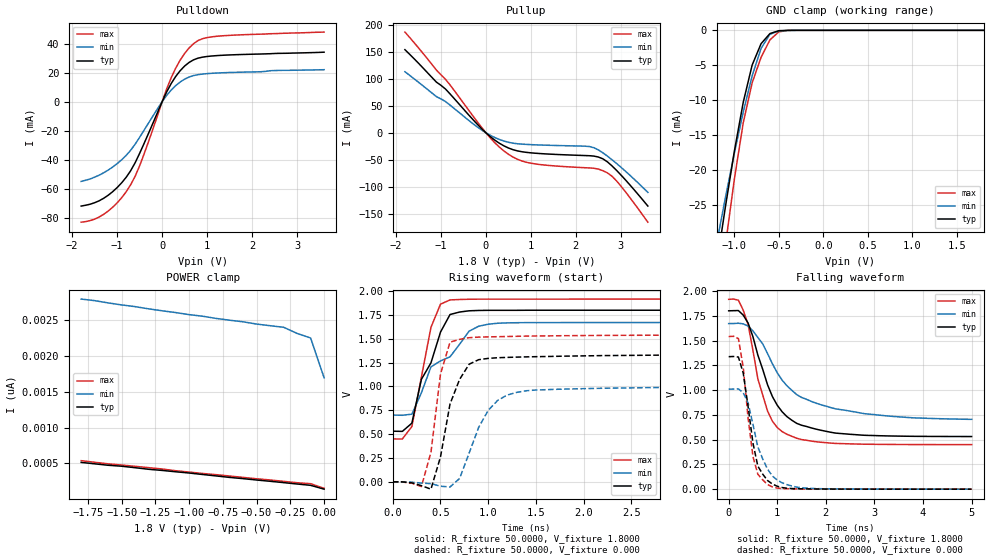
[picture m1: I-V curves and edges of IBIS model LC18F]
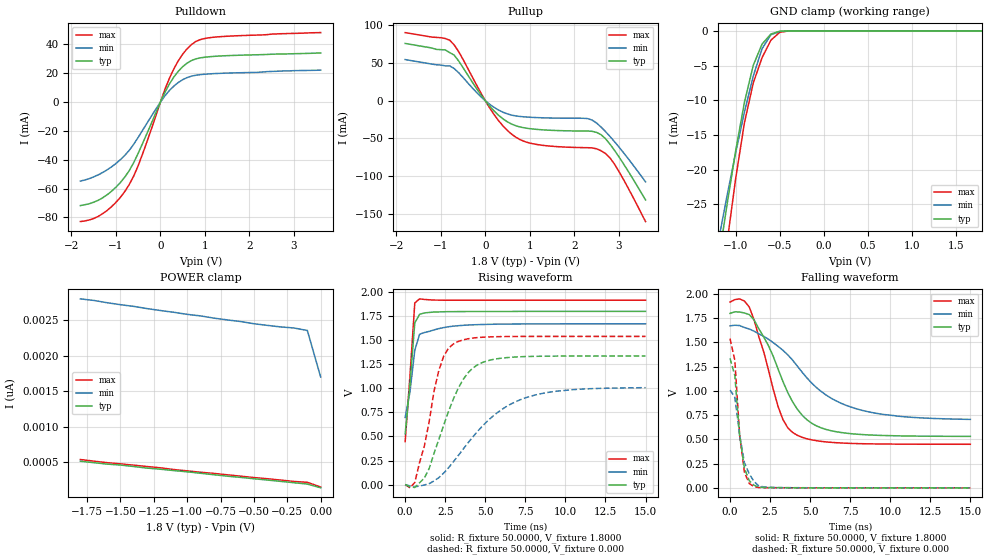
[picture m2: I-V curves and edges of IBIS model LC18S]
| Xilinx CoolRunner-II IBIS models
[IBIS ver]   3.2
[File name]   top.ibs
[File Rev]   0.3
[Date]   Fri Mar 31 17:07:54 2017
[Source]   HSPICE simulations
[Notes]   Xilinx IBIS models for CoolRunner-II
|   The available package models are
|   XC2C32  - CP56, VQ44 and PC44
|   XC2C64  - CP56, VQ44, VQ100 and PC44
|   XC2C128 - FT256, TQ144, CP132 and VQ100
|   XC2C256 - FT256, PQ208, TQ144, CP132, and VQ100
|   XC2C384 - FG324, FT256, PQ208, and TQ144
|   XC2C512 - FG324, FT256, and PQ208
|   with CP56 being selected as a default.
|   Please make your own selection of the packages by
|   commenting out the unused ones.
|   Model names:
|   lc15f - LVCMOS 1.5V & fast slew rate
|   lc15s - LVCMOS 1.5V & slow slew rate
|   lc18f - LVCMOS 1.8V & fast slew rate
|   lc18s - LVCMOS 1.8V & slow slew rate
|   lc25f - LVCMOS 2.5V & fast slew rate
|   lc25s - LVCMOS 2.5V & slow slew rate
|   lc33f - LVCMOS 3.3V & fast slew rate
|   lc33s - LVCMOS 3.3V & slow slew rate
|   hs15f  - HSTL1 1.5V & fast slew rate
|   hs15s  - HSTL1 1.5V & slow slew rate
|   ss25f  - SSTL2-1 2.5V & fast slew rate
|   ss25s  - SSTL2-1 2.5V & slow slew rate
|   ss33f  - SSTL3-1 3.3V & fast slew rate
|   ss33s  - SSTL3-1 3.3V & slow slew rate
|   lt33f  - LVTTL 3.3V & fast slew rate
|   lt33s  - LVTTL 3.3V & slow slew rate
|   COMMENTS: Models include process corners for MIN and MAX
|   NOTE: This file is compliant with IBIS Version 3.2, but it
|   may not implement all approved 3.2 features.
|   NOTE:  Newer versions of the buffer models may be available.
|   Check the web (http://www.xilinx.com/support/sw_ibis.htm) for
|   the latest file revision.  However, please be aware that the
|   web files are not compatible for use with IBISWriter, and
|   must be manually annotated, should their use be preferred.
[Disclaimer]   The data in this model is derived from SPICE simulations
|   using modeling information extracted from the target pro-
|   cess. While a great deal of care has been take to provide
|   information that is accurate, this model is considered
|   preliminary as it has not been verified by actual silicon
|   measurement. Treat the data in this model as preliminary
|   until actual silicon verification is performed.
[Copyright]   Copyright 2003, Xilinx Inc., All rights reserved
|   Component XBR
[Component]   XBR
[Manufacturer]   Xilinx Inc.
[Package]
| For Package Type tq144
| variable   typ   min   max
R_pkg   126.000m   119.000m   133.000m
L_pkg   8.1000nH   7.3000nH   8.9000nH
C_pkg   1.0500pF   0.8000pF   1.3000pF
[Pin]  signal_name   model_name   R_pin   L_pin   C_pin
6   D<0>   LC18S
136   D<1>   LC18S
7   D<2>   LC18S
135   D<3>   LC18S
32   FilterClk   LC18S
134   Load   LC18S
143   Clk   LC18S
9   RESET   LC18S
3   LIGHT<0>   LC18F
5   LIGHT<1>   LC18F
4   LIGHT<2>   LC18F
2   LIGHT<3>   LC18F
30   LIGHT<4>   LC18F
26   LIGHT<5>   LC18F
24   LIGHT<6>   LC18F
22   LIGHT<7>   LC18F
| Models and submodels in the file (2): LC18F (I/O), LC18S (I/O)
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|   Model LC18F
[Model]   LC18F
Model_type   I/O
Polarity   Inverting
Enable   Active-High
Vinl =   0.36000V
Vinh =   1.26000V
Vmeas =   0.9000V
Cref =  35.0000pF
Rref =  56.0000
Vref =  0.9000V
C_comp   1.4810pF   0.9482pF   2.0140pF
[Temperature Range]   25.0000   100.0000   0.000
[Voltage Range]   1.8000V   1.7000V   1.9000V
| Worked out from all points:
|   slope of the pulldown table from 0 to 0.27 V, typ, clamps not added: 17 ohm
|   slope of the pullup table from 0 to 0.27 V, typ, clamps not added: 15.3 ohm
|   GND clamp passes 1 mA (typ) near -0.64 V on its own axis
|   rising waveform, R_fixture 50.0000, V_fixture 1.8000: 20-80 % time 256ps typ, 443ps min, 170ps max; typ from 0.531 V to 1.8 V
|   rising waveform, R_fixture 50.0000, V_fixture 0.000: 20-80 % time 197ps typ, 288ps min, 131ps max; typ from 0 V to 1.33 V
|   falling waveform, R_fixture 50.0000, V_fixture 1.8000: 20-80 % time 600ps typ, 960ps min, 430ps max; typ from 1.8 V to 0.531 V
|   falling waveform, R_fixture 50.0000, V_fixture 0.000: 20-80 % time 255ps typ, 371ps min, 213ps max; typ from 1.34 V to 0 V
[Pulldown]
| voltage   I(typ)   I(min)   I(max)
-1.8V     -71.81mA   -54.84mA   -82.9mA
-1.5V     -69.49mA   -51.9mA    -80.79mA
-1.2V     -64.37mA   -47.05mA   -75.24mA
-900mV    -55.8mA    -39.97mA   -66.09mA
-700mV    -47.49mA   -33.42mA   -57.13mA
-500mV    -35.5mA    -24.46mA   -44.05mA
200mV     12.46mA    7.971mA    16.42mA
400mV     21.32mA    13.55mA    28.59mA
700mV     28.84mA    18.01mA    39.96mA
900mV     30.67mA    19.03mA    43.37mA
1.3V      31.88mA    19.86mA    45.25mA
3.6V      34.07mA    22.02mA    47.9mA
[Pullup]
| voltage   I(typ)   I(min)   I(max)
-1.8V     153.5mA    112.8mA    186mA
-1.1V     93.58mA    66.76mA    115.8mA
-800mV    72.05mA    51.3mA     88.72mA
-100mV    8.008mA    5.369mA    10.44mA
400mV     -24.16mA   -15.28mA   -33.55mA
700mV     -33.47mA   -20.28mA   -48.91mA
1V        -37.08mA   -21.92mA   -56.25mA
2.3V      -42.4mA    -25.41mA   -64.98mA
2.5V      -44.8mA    -31.66mA   -67.1mA
2.7V      -53.68mA   -43.08mA   -74.03mA
3V        -77.83mA   -63.53mA   -98.34mA
3.6V      -135.4mA   -110.1mA   -165.2mA
[GND_clamp]
| voltage   I(typ)   I(min)   I(max)
-1.8V     -89.59mA   -75.16mA   -106.6mA
-1.2V     -33.66mA   -30.6mA    -40.86mA
-1.1V     -25.24mA   -23.93mA   -30.77mA
-1V       -17.32mA   -17.6mA    -21.32mA
-900mV    -10.29mA   -11.7mA    -13.23mA
-800mV    -4.969mA   -6.512mA   -7.511mA
-700mV    -1.912mA   -2.585mA   -3.865mA
-600mV    -461.7uA   -562.3uA   -1.358mA
-500mV    -51.62uA   -96uA      -215.1uA
-400mV    -3.51uA    -19.18uA   -14.57uA
1.8V      138.1pA    2.651nA    129.3pA
[POWER_clamp]
| voltage   I(typ)   I(min)   I(max)
-1.8V     512.6pA    2.798nA    536.7pA
-1.7V     492.5pA    2.776nA    514.3pA
-1.6V     472.5pA    2.744nA    492.6pA
-1.5V     459.1pA    2.716nA    475.7pA
-1.3V     416.2pA    2.661nA    438.8pA
-800mV    323.3pA    2.527nA    341.2pA
-600mV    285.2pA    2.48nA     302.6pA
-500mV    266pA      2.448nA    283.2pA
-300mV    229.6pA    2.403nA    247.3pA
-200mV    210.2pA    2.317nA    228.1pA
-100mV    191.8pA    2.253nA    214.5pA
0V        138pA      1.697nA    149.9pA
[Ramp]
dV/dt_r   0.8010/0.1675n   0.6018/0.2742n   0.9240/0.1081n
dV/dt_f   0.7613/0.5688n   0.5514/1.0399n   0.8879/0.3752n
R_load = 50.0000
[Rising Waveform]
R_fixture = 50.0000
V_fixture = 1.8000
V_fixture_min = 1.6000
V_fixture_max = 2.0000
L_fixture = 0.000H
C_fixture = 0.000F
| time   V(typ)   V(min)   V(max)
0s        530.7mV    699.7mV    449.6mV
100ps     528.8mV    697.7mV    448.9mV
200ps     614.7mV    709.3mV    579.5mV
300ps     1.075V     934.1mV    1.098V
400ps     1.247V     1.205V     1.619V
500ps     1.57V      1.268V     1.863V
600ps     1.754V     1.311V     1.907V
800ps     1.793V     1.58V      1.914V
1.1ns     1.798V     1.663V     1.915V
5ns       1.799V     1.671V     1.916V
[Rising Waveform]
R_fixture = 50.0000
V_fixture = 0.000
V_fixture_min = 0.000
V_fixture_max = 0.000
L_fixture = 0.000H
C_fixture = 0.000F
| time   V(typ)   V(min)   V(max)
0s        0V         0V         0V
300ps     -40.19mV   -13.02mV   -49.58mV
400ps     -76.96mV   -19mV      309.5mV
500ps     261.5mV    -45.98mV   1.131V
600ps     816.3mV    -53.85mV   1.464V
700ps     1.073V     34.95mV    1.494V
800ps     1.233V     301.3mV    1.511V
1ns       1.294V     749.4mV    1.52V
1.3ns     1.308V     938.1mV    1.526V
5ns       1.335V     1.003V     1.54V
[Falling Waveform]
R_fixture = 50.0000
V_fixture = 1.8000
V_fixture_min = 1.6000
V_fixture_max = 2.0000
L_fixture = 0.000H
C_fixture = 0.000F
| time   V(typ)   V(min)   V(max)
0s        1.8V       1.671V     1.916V
200ps     1.802V     1.675V     1.907V
300ps     1.756V     1.668V     1.806V
400ps     1.676V     1.646V     1.661V
600ps     1.354V     1.531V     1.114V
800ps     1.054V     1.369V     788.7mV
1.1ns     781mV      1.101V     580.8mV
1.5ns     645.1mV    925.7mV    500.8mV
2.2ns     565.9mV    810.4mV    461.6mV
5ns       531.1mV    704.8mV    449.7mV
[Falling Waveform]
R_fixture = 50.0000
V_fixture = 0.000
V_fixture_min = 0.000
V_fixture_max = 0.000
L_fixture = 0.000H
C_fixture = 0.000F
| time   V(typ)   V(min)   V(max)
0s        1.337V     1.009V     1.54V
200ps     1.333V     1.012V     1.52V
300ps     1.171V     973.1mV    1.228V
400ps     833mV      868.4mV    715.7mV
500ps     464.4mV    654.5mV    328.7mV
600ps     233mV      426mV      151.2mV
800ps     87.63mV    201.3mV    46.92mV
1.1ns     16.41mV    64.36mV    6.302mV
1.5ns     3.473mV    14.19mV    1.671mV
5ns       15.63uV    57.06uV    2.664uV
|   Model LC18S
[Model]   LC18S
Model_type   I/O
Polarity   Inverting
Enable   Active-High
Vinl =   0.36000V
Vinh =   1.26000V
Vmeas =   0.9000V
Cref =  35.0000pF
Rref =  56.0000
Vref =  0.9000V
C_comp   1.4810pF   0.9482pF   2.0140pF
[Temperature Range]   25.0000   100.0000   0.000
[Voltage Range]   1.8000V   1.7000V   1.9000V
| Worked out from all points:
|   slope of the pulldown table from 0 to 0.27 V, typ, clamps not added: 17 ohm
|   slope of the pullup table from 0 to 0.27 V, typ, clamps not added: 15.3 ohm
|   GND clamp passes 1 mA (typ) near -0.64 V on its own axis
|   rising waveform, R_fixture 50.0000, V_fixture 1.8000: 20-80 % time 389ps typ, 526ps min, 366ps max; typ from 0.528 V to 1.8 V
|   rising waveform, R_fixture 50.0000, V_fixture 0.000: 20-80 % time 1.85ns typ, 3.43ns min, 1.16ns max; typ from 0 V to 1.34 V
|   falling waveform, R_fixture 50.0000, V_fixture 1.8000: 20-80 % time 2.19ns typ, 3.74ns min, 1.53ns max; typ from 1.8 V to 0.531 V
|   falling waveform, R_fixture 50.0000, V_fixture 0.000: 20-80 % time 499ps typ, 651ps min, 453ps max; typ from 1.34 V to 0 V
[Pulldown]
| voltage   I(typ)   I(min)   I(max)
-1.8V     -71.81mA   -54.84mA   -82.9mA
-1.5V     -69.49mA   -51.9mA    -80.79mA
-1.2V     -64.37mA   -47.05mA   -75.24mA
-900mV    -55.8mA    -39.97mA   -66.09mA
-700mV    -47.49mA   -33.42mA   -57.13mA
-500mV    -35.5mA    -24.46mA   -44.05mA
200mV     12.46mA    7.971mA    16.42mA
400mV     21.32mA    13.55mA    28.59mA
700mV     28.84mA    18.01mA    39.96mA
900mV     30.67mA    19.03mA    43.37mA
1.2V      31.68mA    19.72mA    44.97mA
3.6V      34.07mA    22.12mA    48.19mA
[Pullup]
| voltage   I(typ)   I(min)   I(max)
-1.8V     75.94mA    54.57mA    90.37mA
-800mV    63.87mA    46.21mA    80.33mA
-600mV    52.86mA    37.29mA    65.25mA
-100mV    8.008mA    5.369mA    10.44mA
200mV     -13.74mA   -8.888mA   -18.59mA
700mV     -33.47mA   -20.28mA   -48.9mA
1.2V      -38.2mA    -22.44mA   -58.42mA
2.3V      -40.16mA   -23.67mA   -62.27mA
2.5V      -41.97mA   -29.53mA   -63.72mA
2.7V      -50.27mA   -40.81mA   -69.92mA
3V        -74.15mA   -61.15mA   -93.53mA
3.6V      -131.5mA   -107.6mA   -160.2mA
[GND_clamp]
| voltage   I(typ)   I(min)   I(max)
-1.8V     -89.59mA   -75.16mA   -106.6mA
-1.2V     -33.66mA   -30.6mA    -40.86mA
-1.1V     -25.24mA   -23.93mA   -30.77mA
-1V       -17.32mA   -17.6mA    -21.32mA
-900mV    -10.29mA   -11.7mA    -13.23mA
-800mV    -4.969mA   -6.512mA   -7.511mA
-700mV    -1.912mA   -2.585mA   -3.865mA
-600mV    -461.7uA   -562.3uA   -1.358mA
-500mV    -51.62uA   -96uA      -215.1uA
-400mV    -3.51uA    -19.18uA   -14.57uA
1.8V      138pA      2.653nA    129.2pA
[POWER_clamp]
| voltage   I(typ)   I(min)   I(max)
-1.8V     512.6pA    2.798nA    536.9pA
-1.7V     492.6pA    2.776nA    514.3pA
-1.6V     472.4pA    2.744nA    492.3pA
-1.5V     459pA      2.716nA    475.5pA
-900mV    343.2pA    2.558nA    357.9pA
-800mV    322.9pA    2.527nA    341.3pA
-600mV    285.4pA    2.479nA    302.4pA
-500mV    265.9pA    2.448nA    283pA
-300mV    229.4pA    2.403nA    247.3pA
-200mV    209.9pA    2.388nA    228.1pA
-100mV    191.6pA    2.353nA    216pA
0V        138.1pA    1.697nA    149.9pA
[Ramp]
dV/dt_r   0.8022/1.8616n   0.6054/3.4365n   0.9240/1.1682n
dV/dt_f   0.7616/2.1840n   0.5549/3.6642n   0.8879/1.5826n
R_load = 50.0000
[Rising Waveform]
R_fixture = 50.0000
V_fixture = 1.8000
V_fixture_min = 1.6000
V_fixture_max = 2.0000
L_fixture = 0.000H
C_fixture = 0.000F
| time   V(typ)   V(min)   V(max)
0s        528.5mV    697.9mV    447.7mV
300ps     1.046V     965.1mV    1.135V
600ps     1.681V     1.397V     1.887V
900ps     1.769V     1.562V     1.93V
1.2ns     1.784V     1.58V      1.924V
2.4ns     1.796V     1.631V     1.916V
3ns       1.797V     1.647V     1.916V
4.2ns     1.799V     1.661V     1.916V
7.8ns     1.8V       1.67V      1.916V
15ns      1.8V       1.671V     1.916V
[Rising Waveform]
R_fixture = 50.0000
V_fixture = 0.000
V_fixture_min = 0.000
V_fixture_max = 0.000
L_fixture = 0.000H
C_fixture = 0.000F
| time   V(typ)   V(min)   V(max)
0s        380.7uV    473.7uV    -283.8uV
600ps     -29.92mV   -22.83mV   22.39mV
1.2ns     69.03mV    -3.687mV   403.2mV
2.1ns     469.1mV    72.4mV     1.185V
2.4ns     616.5mV    118.7mV    1.333V
3ns       886.5mV    235.1mV    1.46V
3.6ns     1.089V     364.7mV    1.504V
4.5ns     1.243V     550mV      1.528V
7.2ns     1.329V     883.1mV    1.54V
15ns      1.337V     1.007V     1.54V
[Falling Waveform]
R_fixture = 50.0000
V_fixture = 1.8000
V_fixture_min = 1.6000
V_fixture_max = 2.0000
L_fixture = 0.000H
C_fixture = 0.000F
| time   V(typ)   V(min)   V(max)
0s        1.8V       1.671V     1.917V
600ps     1.815V     1.675V     1.95V
1.2ns     1.788V     1.639V     1.867V
2.4ns     1.467V     1.534V     1.216V
3.3ns     1.098V     1.419V     705.5mV
4.2ns     811.7mV    1.256V     542.2mV
5.4ns     638.9mV    1.034V     486.3mV
7.8ns     555.3mV    820mV      457.3mV
10.5ns    536.5mV    739.3mV    451mV
15ns      531.2mV    706.4mV    449.7mV
[Falling Waveform]
R_fixture = 50.0000
V_fixture = 0.000
V_fixture_min = 0.000
V_fixture_max = 0.000
L_fixture = 0.000H
C_fixture = 0.000F
| time   V(typ)   V(min)   V(max)
0s        1.337V     1.01V      1.541V
300ps     1.159V     934.3mV    1.316V
600ps     538.9mV    548.8mV    546.8mV
900ps     202.6mV    259.1mV    160.8mV
1.2ns     73.97mV    144.7mV    44.76mV
1.5ns     26.75mV    64.7mV     11.85mV
1.8ns     8.121mV    20.1mV     3.512mV
2.7ns     2.034mV    4.29mV     1.712mV
15ns      1.588uV    13.3uV     680.9nV
